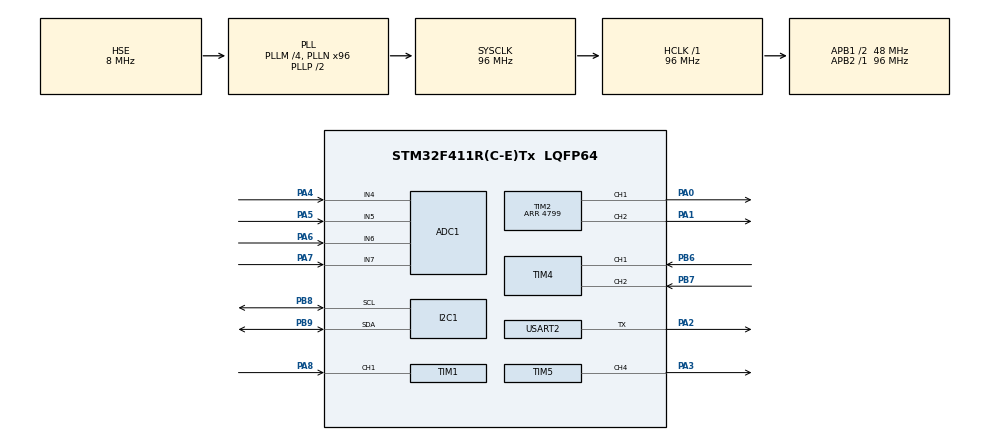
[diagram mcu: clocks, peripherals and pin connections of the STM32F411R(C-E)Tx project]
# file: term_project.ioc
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ADC1.Channel-0\#ChannelRegularConversion=ADC_CHANNEL_4
ADC1.Channel-1\#ChannelRegularConversion=ADC_CHANNEL_5
ADC1.Channel-2\#ChannelRegularConversion=ADC_CHANNEL_6
ADC1.Channel-3\#ChannelRegularConversion=ADC_CHANNEL_7
ADC1.ContinuousConvMode=ENABLE
ADC1.DMAContinuousRequests=DISABLE
ADC1.InjNumberOfConversion=0
ADC1.NbrOfConversion=4
ADC1.NbrOfConversionFlag=1
ADC1.Rank-0\#ChannelRegularConversion=1
ADC1.Rank-1\#ChannelRegularConversion=2
ADC1.Rank-2\#ChannelRegularConversion=3
ADC1.Rank-3\#ChannelRegularConversion=4
ADC1.SamplingTime-0\#ChannelRegularConversion=ADC_SAMPLETIME_3CYCLES
ADC1.SamplingTime-1\#ChannelRegularConversion=ADC_SAMPLETIME_3CYCLES
ADC1.SamplingTime-2\#ChannelRegularConversion=ADC_SAMPLETIME_3CYCLES
ADC1.SamplingTime-3\#ChannelRegularConversion=ADC_SAMPLETIME_3CYCLES
ADC1.master=1
Mcu.Family=STM32F4
Mcu.Name=STM32F411R(C-E)Tx
Mcu.Package=LQFP64
NVIC.PriorityGroup=NVIC_PRIORITYGROUP_4
NVIC.TIM1_CC_IRQn=true\:0\:0\:false\:false\:true\:true\:true\:true
NVIC.TIM4_IRQn=true\:0\:0\:false\:false\:true\:true\:true\:true
PA0-WKUP.Signal=S_TIM2_CH1_ETR
PA1.Signal=S_TIM2_CH2
PA13.Mode=Serial_Wire
PA13.Signal=SYS_JTMS-SWDIO
PA14.Mode=Serial_Wire
PA14.Signal=SYS_JTCK-SWCLK
PA2.Mode=Half_duplex(single_wire_mode)
PA2.Signal=USART2_TX
PA3.Signal=S_TIM5_CH4
PA4.Signal=ADCx_IN4
PA5.Signal=ADCx_IN5
PA6.Signal=ADCx_IN6
PA7.Signal=ADCx_IN7
PA8.Signal=S_TIM1_CH1
PB0.Signal=S_TIM3_CH3
PB1.Signal=S_TIM3_CH4
PB6.Signal=S_TIM4_CH1
PB7.Signal=S_TIM4_CH2
PB8.Mode=I2C
PB8.Signal=I2C1_SCL
PB9.Mode=I2C
PB9.Signal=I2C1_SDA
PH0\ -\ OSC_IN.Mode=HSE-External-Oscillator
PH0\ -\ OSC_IN.Signal=RCC_OSC_IN
PH1\ -\ OSC_OUT.Mode=HSE-External-Oscillator
PH1\ -\ OSC_OUT.Signal=RCC_OSC_OUT
ProjectManager.HeapSize=0x200
ProjectManager.StackSize=0x400
ProjectManager.TargetToolchain=STM32CubeIDE
RCC.48MHZClocksFreq_Value=48000000
RCC.AHBFreq_Value=96000000
RCC.APB1CLKDivider=RCC_HCLK_DIV2
RCC.APB1Freq_Value=48000000
RCC.APB1TimFreq_Value=96000000
RCC.APB2Freq_Value=96000000
RCC.APB2TimFreq_Value=96000000
RCC.CortexFreq_Value=96000000
RCC.HCLKFreq_Value=96000000
RCC.HSE_VALUE=8000000
RCC.HSI_VALUE=16000000
RCC.LSE_VALUE=32768
RCC.PLLM=4
RCC.PLLN=96
RCC.PLLSourceVirtual=RCC_PLLSOURCE_HSE
RCC.SYSCLKFreq_VALUE=96000000
RCC.SYSCLKSource=RCC_SYSCLKSOURCE_PLLCLK
RCC.VCOOutputFreq_Value=192000000
SH.ADCx_IN4.0=ADC1_IN4,IN4
SH.ADCx_IN5.0=ADC1_IN5,IN5
SH.ADCx_IN6.0=ADC1_IN6,IN6
SH.ADCx_IN7.0=ADC1_IN7,IN7
SH.S_TIM1_CH1.0=TIM1_CH1,PWM_Input_1
SH.S_TIM2_CH1_ETR.0=TIM2_CH1,PWM Generation1 CH1
SH.S_TIM2_CH2.0=TIM2_CH2,PWM Generation2 CH2
SH.S_TIM3_CH3.0=TIM3_CH3
SH.S_TIM3_CH4.0=TIM3_CH4
SH.S_TIM4_CH1.0=TIM4_CH1,Encoder_Interface
SH.S_TIM4_CH2.0=TIM4_CH2,Encoder_Interface
SH.S_TIM5_CH4.0=TIM5_CH4,PWM Generation4 CH4
TIM1.Prescaler=95
TIM2.Channel-PWM\ Generation1\ CH1=TIM_CHANNEL_1
TIM2.Channel-PWM\ Generation2\ CH2=TIM_CHANNEL_2
TIM2.OCPolarity_1=TIM_OCPOLARITY_LOW
TIM2.OCPolarity_2=TIM_OCPOLARITY_LOW
TIM2.Period=4799
TIM4.EncoderMode=TIM_ENCODERMODE_TI12
TIM4.IC1Polarity=TIM_ICPOLARITY_RISING
TIM4.IC2Polarity=TIM_ICPOLARITY_RISING
TIM5.Channel-PWM\ Generation4\ CH4=TIM_CHANNEL_4
TIM5.Period=1919999
USART2.Mode=MODE_TX
USART2.VirtualMode=VM_ASYNC
VP_TIM1_VS_ClockSourceINT.Mode=Internal
VP_TIM2_VS_ClockSourceINT.Mode=Internal
VP_TIM5_VS_ClockSourceINT.Mode=Internal
board=custom

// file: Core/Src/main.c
/* USER CODE BEGIN Header */
/**
  ******************************************************************************
  * @file           : main.c
  * @brief          : Main program body
  ******************************************************************************
  * @attention
  *
  * Copyright (c) 2024 STMicroelectronics.
  * All rights reserved.
  *
  * This software is licensed under terms that can be found in the LICENSE file
  * in the root directory of this software component.
  * If no LICENSE file comes with this software, it is provided AS-IS.
  *
  ******************************************************************************
  */
/* USER CODE END Header */
#include "main.h"

/* USER CODE BEGIN Includes */
#include "motor_driver.h"
#include "servo_driver.h"
#include "radio_reciever_driver.h"
#include "photoresistor_driver.h"
#include "encoder_driver.h"
#include "bno055.h"
#include "bno_config.h"
#include "vector.h"
#include "controller.h"
#include "task1.h"
#include "task2.h"
#include "intertask_vars.h"
#include <stdio.h>
#include <stdlib.h>
#include <string.h>
#include <math.h>
/* USER CODE END Includes */

ADC_HandleTypeDef hadc1;

I2C_HandleTypeDef hi2c1;

TIM_HandleTypeDef htim1;
TIM_HandleTypeDef htim2;
TIM_HandleTypeDef htim4;
TIM_HandleTypeDef htim5;

UART_HandleTypeDef huart2;

/* USER CODE BEGIN PV */
TIM_HandleTypeDef htim_cb;
volatile float gyro_angle_x = 0;
volatile float gyro_angle_y = 0;
volatile float gyro_angle_z = 0;

// Interrupt Flags
uint8_t rad_edge_flag = 0;
uint8_t adc_conversion_flag = 0;
/* USER CODE END PV */

void SystemClock_Config(void);
static void MX_GPIO_Init(void);
static void MX_ADC1_Init(void);
static void MX_TIM1_Init(void);
static void MX_TIM2_Init(void);
static void MX_TIM5_Init(void);
static void MX_USART2_UART_Init(void);
static void MX_I2C1_Init(void);
static void MX_TIM4_Init(void);
/* USER CODE BEGIN PFP */
int32_t pulse_to_PWM(RadioReciever_DriverTypeDef* rad);
VectorTypeDef get_reflect_angle(VectorTypeDef* light_source_angle, VectorTypeDef* target_position, VectorTypeDef* heliostat_position);
/* USER CODE END PFP */

int main(void)
{

  /* MCU Configuration--------------------------------------------------------*/

  /* Reset of all peripherals, Initializes the Flash interface and the Systick. */
  HAL_Init();

  /* Configure the system clock */
  SystemClock_Config();

  /* Initialize all configured peripherals */
  MX_GPIO_Init();
  MX_ADC1_Init();
  MX_TIM1_Init();
  MX_TIM2_Init();
  MX_TIM5_Init();
  MX_USART2_UART_Init();
  MX_I2C1_Init();
  MX_TIM4_Init();
  /* USER CODE BEGIN 2 */

  // Driver Initializations

  // Initializing the motor driver structure and enabling the motor
  volatile int32_t duty_percent;
  volatile int32_t duty_count;
  const int32_t pulse = 4799;
  Motor_DriverTypeDef mot = { .tim_handle = &htim2,
  	  	 	  	  	  	  	  .tim_channel1 = TIM_CHANNEL_1,
							  .tim_channel2 = TIM_CHANNEL_2,
  	  	 	  	  	  	  	  .tim_channel3 = TIM_CHANNEL_3,	// Unused
							  .tim_channel4 = TIM_CHANNEL_4,	// Unused
							  .pulse = pulse				 };
  //enable_mot(&mot,1);
  // Initially setting the PWM to 0 in case they had been previously been set
  //set_PWM_percent(&mot, 1, 0);

  // Initializing the servo motor driver structure and enabling the servo
  float servo_current_position;
  uint32_t CCR;
  float servo_angle;
  Servo_DriverTypeDef servo = { .pwmHandle = &htim5,
		  	  	  	  	 	 	.timer_ch = TIM_CHANNEL_4,
								.current_CCR = 0,
								.timer_ARR = 1919999       };
  //enable_servo(&servo);

  // Initializing the Radio Receiver structure and enabling the channel for inputs
  RadioReciever_DriverTypeDef rad = { .tim_handle = &htim1,
	  	  	  	  	  	  	     	   .tim_channel1 = TIM_CHANNEL_1,
									   .tim_channel2 = TIM_CHANNEL_2,
									   .IC_Rise = 0,
									   .IC_Fall = 0,
									   .IC_Diff = 0,
									   .pulse_width = 0,
									   .tol = 0.1,
									   .pulse_recieve_flag = 0,
									   .rise_flag = 0					};
  //enable_rad(task->rad);

  // Initializing the Photoresistors' structure
  uint32_t photo1, photo2, photo3, photo4;
  uint32_t photo_buff[4];

  Photoresistor_DriverTypeDef photo = { .adc_handle = &hadc1,
		  	  	  	  	  	  	  	  	.adc_channel1 = ADC_CHANNEL_4,
										.adc_channel2 = ADC_CHANNEL_5,
		  	  	  	  	  	  	  	  	.adc_channel1 = ADC_CHANNEL_6,
										.adc_channel2 = ADC_CHANNEL_7,
  	  	  	  	  	  	  	  	  	    .photo_results = photo_buff   };

  // Initializing the Encoder structure
  // NOTE: The purchased Encoder for this project has one non-functional output, meaning it can only read one direction and not as a quadrature
  int32_t count;
  Encoder_DriverTypeDef enc = { .tim_handle = &htim4,
		  	  	  	  	  	    .tim_channel1 = TIM_CHANNEL_1,
								.tim_channel2 = TIM_CHANNEL_2,
								.curr_count = 0,
								.prev_count = 0,
								.tot_count = 0,
								.pos = 0,
								.AR = 65535					   };
  //enable_enc(&enc);
  //set_zero(&enc);

  // UART Communication
  volatile uint32_t prev_time;
  volatile uint32_t curr_time;
  volatile char my_message[200];

  // Initializing Gyroscope I2C structure
  // Source: https://github.com/d-mironov/Bosch-BNO055-STM32/blob/main/examples/simple/Src/main.c
  bno055_euler_t euler = {0, 0, 0};
  error_bno err;
  volatile float gyro_angle_x = 0;
  volatile float gyro_angle_y = 0;
  volatile float gyro_angle_z = 0;

  bno055_t bno = (bno055_t){ .i2c = &hi2c1,
	  	  	  	  	  	  	 .addr = 0x28,
							 .mode = BNO_MODE_IMU };

  // EDIT: uncomment this and the next section to debug the IMU/connections
  /*
  HAL_Delay(1000);

  if ((err = bno055_init(&bno)) == BNO_OK) {
	  sprintf(my_message,"[+] BNO055 init success\r\n");
	  HAL_UART_Transmit(&huart2, (uint8_t*) my_message, strlen(my_message), 100);
      HAL_Delay(100);
  } else {
	  sprintf(my_message,"[!] BNO055 init failed: %s \r\n", bno055_err_str(err));
	  HAL_UART_Transmit(&huart2, (uint8_t*) my_message, strlen(my_message), 100);
      Error_Handler();
  }

  HAL_Delay(100);
  err = bno055_set_unit(&bno, BNO_TEMP_UNIT_C, BNO_GYR_UNIT_DPS,
                        BNO_ACC_UNITSEL_M_S2, BNO_EUL_UNIT_DEG);
  if (err != BNO_OK) {
	  sprintf(my_message,"[BNO] Failed to set units. Err: %d\r\n", err);
	  HAL_UART_Transmit(&huart2, (uint8_t*) my_message, strlen(my_message), 100);
  } else {
	  sprintf(my_message,"[BNO] Unit selection success\r\n");
	  HAL_UART_Transmit(&huart2, (uint8_t*) my_message, strlen(my_message), 100);
  }
  */

  /*
  HAL_StatusTypeDef ret;
  uint8_t Buffer[25] = {0};
  uint8_t Space[] = " - ";
  uint8_t StartMSG[] = "Starting I2C Scanning: \r\n";
  uint8_t EndMSG[] = "Done! \r\n\r\n";

  HAL_UART_Transmit(&huart2, StartMSG, sizeof(StartMSG), 10000);
  for(uint16_t i=1; i<128; i++)
  {
      ret = HAL_I2C_IsDeviceReady(&hi2c1, (uint16_t)(i<<1), 3, 5);
      if (ret != HAL_OK)
      {
          HAL_UART_Transmit(&huart2, Space, sizeof(Space), 10000);
      }
      else if(ret == HAL_OK)
      {
          sprintf(Buffer, "0x%X", i);
          HAL_UART_Transmit(&huart2, Buffer, sizeof(Buffer), 10000);
      }
  }
  HAL_UART_Transmit(&huart2, EndMSG, sizeof(EndMSG), 10000);
  */

  // Controller Initialization
  ControllerTypeDef con = { .des_val = 0,
		  	  	  	  	  	.kp = 0,
							.kd = 0,
							.ki = 0,
							.int_err = 0,
							.prev_err = 0,
							.prev_time = 0,
							.first_time = 1, };

  // Task Initializations

  INTERTASK_VARS intertask_vars = { .rc_trigger_flag = 0,
  	  	  	  	  	  	  	  	  	  .rad_edge_flag = &rad_edge_flag,	// EDIT: This should be an address bc its set outside of the tasks by an interrupt. The interrupt does not actually update the value in this struct, so we need to read the value at the address that it's stored in
  	  	  	  	  	  	  	  	  	  .htim_cb = &htim_cb			   };

  TASK1 task1 = { .state = 0,
				  .mot = &mot,
				  .servo = &servo,
				  .rad = &rad,
				  .photo = &photo,
				  .enc = &enc,
  	  	  	  	  .gyro = &bno	   };

  TASK2 task2 = { .state = 0,
				  .mot = &mot,
				  .servo = &servo,
				  .rad = &rad,
				  .photo = &photo,
				  .enc = &enc,
  	  	  	  	  .gyro = &bno,
  	  	  	  	  .con = &con,
  	  	  	  	  .init_controller = 1,
				  .euler = &euler,
				  .within_range = 0,
				  .end_time = 0,
				  .high_light = 0,
				  .high_angle = 0,
				  .reflect_angle = 0    };

  /* USER CODE END 2 */

  /* Infinite loop */
  /* USER CODE BEGIN WHILE */
  prev_time = HAL_GetTick();
  while (1)
  {
	  // FSM
	  main_task1(&task1, &intertask_vars);
	  main_task2(&task2, &intertask_vars);

	  /*
	  // Testing Motor
	  int32_t duty_count = pulse_to_PWM(&rad);
	  set_PWM(&mot, 1, duty_count);

	  // Testing Servo
	  servo_set_position(&servo, servo_angle);
	  CCR = servo.current_CCR;
	  servo_current_position = servo_get_position(&servo);

	  // Testing Radio Receiver
	  if (rad_edge_flag){
		  read_pulse(&rad, &htim_cb);
		  rad_edge_flag = 0;
	  }

	  // Testing Photoresistor ADC values

	  uint32_t photo1 = get_photo_value(&photo, 1);
	  uint32_t photo2 = get_photo_value(&photo, 2);
	  uint32_t photo3 = get_photo_value(&photo, 3);
	  uint32_t photo4 = get_photo_value(&photo, 4);

	  // Testing Encoder Outputs
	  count = read_count(&enc);

	  // Testing I2C Gyroscope
	  bno055_euler(&bno, &euler);
	  gyro_angle_x = euler.yaw;
	  gyro_angle_y = euler.pitch;
	  gyro_angle_z = euler.roll;

	  //Printing out values through UART at set times
	  curr_time = HAL_GetTick();
	  if (curr_time - prev_time >= 1000){
		  sprintf(my_message,"Photoresistor 1 voltage: %ld (V) (or %ld).\r\n", (uint32_t) (photo1*3.3/4095), photo1);
		  HAL_UART_Transmit(&huart2, (uint8_t*) my_message, strlen(my_message), 100);
		  sprintf(my_message,"Photoresistor 2 voltage: %ld (V) (or %ld).\r\n", (uint32_t) (photo2*3.3/4095), photo2);
		  HAL_UART_Transmit(&huart2, (uint8_t*) my_message, strlen(my_message), 100);
		  sprintf(my_message,"Photoresistor 3 voltage: %ld (V) (or %ld).\r\n", (uint32_t) (photo3*3.3/4095), photo3);
		  HAL_UART_Transmit(&huart2, (uint8_t*) my_message, strlen(my_message), 100);
		  sprintf(my_message,"Photoresistor 4 voltage: %ld (V) (or %ld).\r\n", (uint32_t) (photo4*3.3/4095), photo4);
		  HAL_UART_Transmit(&huart2, (uint8_t*) my_message, strlen(my_message), 100);

		  sprintf(my_message,"Encoder position is: %ld.\r\n", count);
		  HAL_UART_Transmit(&huart2, (uint8_t*) my_message, strlen(my_message), 100);

		  sprintf(my_message,"Gyro X is: %d.\r\n", (int32_t)gyro_angle_x);
		  HAL_UART_Transmit(&huart2, (uint8_t*) my_message, strlen(my_message), 100);
		  sprintf(my_message,"Gyro Y is: %d.\r\n", (int32_t)gyro_angle_y);
		  HAL_UART_Transmit(&huart2, (uint8_t*) my_message, strlen(my_message), 100);
		  sprintf(my_message,"Gyro Z is: %d.\r\n", (int32_t)gyro_angle_z);
		  HAL_UART_Transmit(&huart2, (uint8_t*) my_message, strlen(my_message), 100);

		  sprintf(my_message,"\r\n");
		  HAL_UART_Transmit(&huart2, (uint8_t*) my_message, strlen(my_message), 10);

		  prev_time = curr_time;
	  }
	  */
    /* USER CODE END WHILE */

  }
}

void SystemClock_Config(void)
{
  RCC_OscInitTypeDef RCC_OscInitStruct = {0};
  RCC_ClkInitTypeDef RCC_ClkInitStruct = {0};

  /** Configure the main internal regulator output voltage
  */
  __HAL_RCC_PWR_CLK_ENABLE();
  __HAL_PWR_VOLTAGESCALING_CONFIG(PWR_REGULATOR_VOLTAGE_SCALE1);

  /** Initializes the RCC Oscillators according to the specified parameters
  * in the RCC_OscInitTypeDef structure.
  */
  RCC_OscInitStruct.OscillatorType = RCC_OSCILLATORTYPE_HSE;
  RCC_OscInitStruct.HSEState = RCC_HSE_ON;
  RCC_OscInitStruct.PLL.PLLState = RCC_PLL_ON;
  RCC_OscInitStruct.PLL.PLLSource = RCC_PLLSOURCE_HSE;
  RCC_OscInitStruct.PLL.PLLM = 4;
  RCC_OscInitStruct.PLL.PLLN = 96;
  RCC_OscInitStruct.PLL.PLLP = RCC_PLLP_DIV2;
  RCC_OscInitStruct.PLL.PLLQ = 4;
  if (HAL_RCC_OscConfig(&RCC_OscInitStruct) != HAL_OK)
  {
    Error_Handler();
  }

  /** Initializes the CPU, AHB and APB buses clocks
  */
  RCC_ClkInitStruct.ClockType = RCC_CLOCKTYPE_HCLK|RCC_CLOCKTYPE_SYSCLK
                              |RCC_CLOCKTYPE_PCLK1|RCC_CLOCKTYPE_PCLK2;
  RCC_ClkInitStruct.SYSCLKSource = RCC_SYSCLKSOURCE_PLLCLK;
  RCC_ClkInitStruct.AHBCLKDivider = RCC_SYSCLK_DIV1;
  RCC_ClkInitStruct.APB1CLKDivider = RCC_HCLK_DIV2;
  RCC_ClkInitStruct.APB2CLKDivider = RCC_HCLK_DIV1;

  if (HAL_RCC_ClockConfig(&RCC_ClkInitStruct, FLASH_LATENCY_3) != HAL_OK)
  {
    Error_Handler();
  }
}

static void MX_ADC1_Init(void)
{

  ADC_ChannelConfTypeDef sConfig = {0};

  /** Configure the global features of the ADC (Clock, Resolution, Data Alignment and number of conversion)
  */
  hadc1.Instance = ADC1;
  hadc1.Init.ClockPrescaler = ADC_CLOCK_SYNC_PCLK_DIV4;
  hadc1.Init.Resolution = ADC_RESOLUTION_12B;
  hadc1.Init.ScanConvMode = ENABLE;
  hadc1.Init.ContinuousConvMode = ENABLE;
  hadc1.Init.DiscontinuousConvMode = DISABLE;
  hadc1.Init.ExternalTrigConvEdge = ADC_EXTERNALTRIGCONVEDGE_NONE;
  hadc1.Init.ExternalTrigConv = ADC_SOFTWARE_START;
  hadc1.Init.DataAlign = ADC_DATAALIGN_RIGHT;
  hadc1.Init.NbrOfConversion = 4;
  hadc1.Init.DMAContinuousRequests = DISABLE;
  hadc1.Init.EOCSelection = ADC_EOC_SINGLE_CONV;
  if (HAL_ADC_Init(&hadc1) != HAL_OK)
  {
    Error_Handler();
  }

  /** Configure for the selected ADC regular channel its corresponding rank in the sequencer and its sample time.

  sConfig.Channel = ADC_CHANNEL_4;
  sConfig.Rank = 1;
  sConfig.SamplingTime = ADC_SAMPLETIME_3CYCLES;
  if (HAL_ADC_ConfigChannel(&hadc1, &sConfig) != HAL_OK)
  {
    Error_Handler();
  }

  /** Configure for the selected ADC regular channel its corresponding rank in the sequencer and its sample time.

  sConfig.Channel = ADC_CHANNEL_5;
  sConfig.Rank = 2;
  if (HAL_ADC_ConfigChannel(&hadc1, &sConfig) != HAL_OK)
  {
    Error_Handler();
  }

  /** Configure for the selected ADC regular channel its corresponding rank in the sequencer and its sample time.

  sConfig.Channel = ADC_CHANNEL_6;
  sConfig.Rank = 3;
  if (HAL_ADC_ConfigChannel(&hadc1, &sConfig) != HAL_OK)
  {
    Error_Handler();
  }

  /** Configure for the selected ADC regular channel its corresponding rank in the sequencer and its sample time.

  sConfig.Channel = ADC_CHANNEL_7;
  sConfig.Rank = 4;
  if (HAL_ADC_ConfigChannel(&hadc1, &sConfig) != HAL_OK)
  {
    Error_Handler();
  }

}

static void MX_I2C1_Init(void)
{

  hi2c1.Instance = I2C1;
  hi2c1.Init.ClockSpeed = 100000;
  hi2c1.Init.DutyCycle = I2C_DUTYCYCLE_2;
  hi2c1.Init.OwnAddress1 = 0;
  hi2c1.Init.AddressingMode = I2C_ADDRESSINGMODE_7BIT;
  hi2c1.Init.DualAddressMode = I2C_DUALADDRESS_DISABLE;
  hi2c1.Init.OwnAddress2 = 0;
  hi2c1.Init.GeneralCallMode = I2C_GENERALCALL_DISABLE;
  hi2c1.Init.NoStretchMode = I2C_NOSTRETCH_DISABLE;
  if (HAL_I2C_Init(&hi2c1) != HAL_OK)
  {
    Error_Handler();
  }

}

static void MX_TIM1_Init(void)
{

  TIM_ClockConfigTypeDef sClockSourceConfig = {0};
  TIM_SlaveConfigTypeDef sSlaveConfig = {0};
  TIM_IC_InitTypeDef sConfigIC = {0};
  TIM_MasterConfigTypeDef sMasterConfig = {0};

  htim1.Instance = TIM1;
  htim1.Init.Prescaler = 95;
  htim1.Init.CounterMode = TIM_COUNTERMODE_UP;
  htim1.Init.Period = 65535;
  htim1.Init.ClockDivision = TIM_CLOCKDIVISION_DIV1;
  htim1.Init.RepetitionCounter = 0;
  htim1.Init.AutoReloadPreload = TIM_AUTORELOAD_PRELOAD_DISABLE;
  if (HAL_TIM_Base_Init(&htim1) != HAL_OK)
  {
    Error_Handler();
  }
  sClockSourceConfig.ClockSource = TIM_CLOCKSOURCE_INTERNAL;
  if (HAL_TIM_ConfigClockSource(&htim1, &sClockSourceConfig) != HAL_OK)
  {
    Error_Handler();
  }
  if (HAL_TIM_IC_Init(&htim1) != HAL_OK)
  {
    Error_Handler();
  }
  sSlaveConfig.SlaveMode = TIM_SLAVEMODE_RESET;
  sSlaveConfig.InputTrigger = TIM_TS_TI1FP1;
  sSlaveConfig.TriggerPolarity = TIM_INPUTCHANNELPOLARITY_RISING;
  sSlaveConfig.TriggerPrescaler = TIM_ICPSC_DIV1;
  sSlaveConfig.TriggerFilter = 0;
  if (HAL_TIM_SlaveConfigSynchro(&htim1, &sSlaveConfig) != HAL_OK)
  {
    Error_Handler();
  }
  sConfigIC.ICPolarity = TIM_INPUTCHANNELPOLARITY_RISING;
  sConfigIC.ICSelection = TIM_ICSELECTION_DIRECTTI;
  sConfigIC.ICPrescaler = TIM_ICPSC_DIV1;
  sConfigIC.ICFilter = 0;
  if (HAL_TIM_IC_ConfigChannel(&htim1, &sConfigIC, TIM_CHANNEL_1) != HAL_OK)
  {
    Error_Handler();
  }
  sConfigIC.ICPolarity = TIM_INPUTCHANNELPOLARITY_FALLING;
  sConfigIC.ICSelection = TIM_ICSELECTION_INDIRECTTI;
  if (HAL_TIM_IC_ConfigChannel(&htim1, &sConfigIC, TIM_CHANNEL_2) != HAL_OK)
  {
    Error_Handler();
  }
  sMasterConfig.MasterOutputTrigger = TIM_TRGO_RESET;
  sMasterConfig.MasterSlaveMode = TIM_MASTERSLAVEMODE_DISABLE;
  if (HAL_TIMEx_MasterConfigSynchronization(&htim1, &sMasterConfig) != HAL_OK)
  {
    Error_Handler();
  }

}

static void MX_TIM2_Init(void)
{

  TIM_ClockConfigTypeDef sClockSourceConfig = {0};
  TIM_MasterConfigTypeDef sMasterConfig = {0};
  TIM_OC_InitTypeDef sConfigOC = {0};

  htim2.Instance = TIM2;
  htim2.Init.Prescaler = 0;
  htim2.Init.CounterMode = TIM_COUNTERMODE_UP;
  htim2.Init.Period = 4799;
  htim2.Init.ClockDivision = TIM_CLOCKDIVISION_DIV1;
  htim2.Init.AutoReloadPreload = TIM_AUTORELOAD_PRELOAD_DISABLE;
  if (HAL_TIM_Base_Init(&htim2) != HAL_OK)
  {
    Error_Handler();
  }
  sClockSourceConfig.ClockSource = TIM_CLOCKSOURCE_INTERNAL;
  if (HAL_TIM_ConfigClockSource(&htim2, &sClockSourceConfig) != HAL_OK)
  {
    Error_Handler();
  }
  if (HAL_TIM_PWM_Init(&htim2) != HAL_OK)
  {
    Error_Handler();
  }
  sMasterConfig.MasterOutputTrigger = TIM_TRGO_RESET;
  sMasterConfig.MasterSlaveMode = TIM_MASTERSLAVEMODE_DISABLE;
  if (HAL_TIMEx_MasterConfigSynchronization(&htim2, &sMasterConfig) != HAL_OK)
  {
    Error_Handler();
  }
  sConfigOC.OCMode = TIM_OCMODE_PWM1;
  sConfigOC.Pulse = 0;
  sConfigOC.OCPolarity = TIM_OCPOLARITY_LOW;
  sConfigOC.OCFastMode = TIM_OCFAST_DISABLE;
  if (HAL_TIM_PWM_ConfigChannel(&htim2, &sConfigOC, TIM_CHANNEL_1) != HAL_OK)
  {
    Error_Handler();
  }
  if (HAL_TIM_PWM_ConfigChannel(&htim2, &sConfigOC, TIM_CHANNEL_2) != HAL_OK)
  {
    Error_Handler();
  }
  HAL_TIM_MspPostInit(&htim2);

}

static void MX_TIM4_Init(void)
{

  TIM_Encoder_InitTypeDef sConfig = {0};
  TIM_MasterConfigTypeDef sMasterConfig = {0};

  htim4.Instance = TIM4;
  htim4.Init.Prescaler = 0;
  htim4.Init.CounterMode = TIM_COUNTERMODE_UP;
  htim4.Init.Period = 65535;
  htim4.Init.ClockDivision = TIM_CLOCKDIVISION_DIV1;
  htim4.Init.AutoReloadPreload = TIM_AUTORELOAD_PRELOAD_DISABLE;
  sConfig.EncoderMode = TIM_ENCODERMODE_TI12;
  sConfig.IC1Polarity = TIM_ICPOLARITY_RISING;
  sConfig.IC1Selection = TIM_ICSELECTION_DIRECTTI;
  sConfig.IC1Prescaler = TIM_ICPSC_DIV1;
  sConfig.IC1Filter = 0;
  sConfig.IC2Polarity = TIM_ICPOLARITY_RISING;
  sConfig.IC2Selection = TIM_ICSELECTION_DIRECTTI;
  sConfig.IC2Prescaler = TIM_ICPSC_DIV1;
  sConfig.IC2Filter = 0;
  if (HAL_TIM_Encoder_Init(&htim4, &sConfig) != HAL_OK)
  {
    Error_Handler();
  }
  sMasterConfig.MasterOutputTrigger = TIM_TRGO_RESET;
  sMasterConfig.MasterSlaveMode = TIM_MASTERSLAVEMODE_DISABLE;
  if (HAL_TIMEx_MasterConfigSynchronization(&htim4, &sMasterConfig) != HAL_OK)
  {
    Error_Handler();
  }

}

static void MX_TIM5_Init(void)
{

  TIM_ClockConfigTypeDef sClockSourceConfig = {0};
  TIM_MasterConfigTypeDef sMasterConfig = {0};
  TIM_OC_InitTypeDef sConfigOC = {0};

  htim5.Instance = TIM5;
  htim5.Init.Prescaler = 0;
  htim5.Init.CounterMode = TIM_COUNTERMODE_UP;
  htim5.Init.Period = 1919999;
  htim5.Init.ClockDivision = TIM_CLOCKDIVISION_DIV1;
  htim5.Init.AutoReloadPreload = TIM_AUTORELOAD_PRELOAD_DISABLE;
  if (HAL_TIM_Base_Init(&htim5) != HAL_OK)
  {
    Error_Handler();
  }
  sClockSourceConfig.ClockSource = TIM_CLOCKSOURCE_INTERNAL;
  if (HAL_TIM_ConfigClockSource(&htim5, &sClockSourceConfig) != HAL_OK)
  {
    Error_Handler();
  }
  if (HAL_TIM_PWM_Init(&htim5) != HAL_OK)
  {
    Error_Handler();
  }
  sMasterConfig.MasterOutputTrigger = TIM_TRGO_RESET;
  sMasterConfig.MasterSlaveMode = TIM_MASTERSLAVEMODE_DISABLE;
  if (HAL_TIMEx_MasterConfigSynchronization(&htim5, &sMasterConfig) != HAL_OK)
  {
    Error_Handler();
  }
  sConfigOC.OCMode = TIM_OCMODE_PWM1;
  sConfigOC.Pulse = 0;
  sConfigOC.OCPolarity = TIM_OCPOLARITY_HIGH;
  sConfigOC.OCFastMode = TIM_OCFAST_DISABLE;
  if (HAL_TIM_PWM_ConfigChannel(&htim5, &sConfigOC, TIM_CHANNEL_4) != HAL_OK)
  {
    Error_Handler();
  }
  HAL_TIM_MspPostInit(&htim5);

}

static void MX_USART2_UART_Init(void)
{

  huart2.Instance = USART2;
  huart2.Init.BaudRate = 115200;
  huart2.Init.WordLength = UART_WORDLENGTH_8B;
  huart2.Init.StopBits = UART_STOPBITS_1;
  huart2.Init.Parity = UART_PARITY_NONE;
  huart2.Init.Mode = UART_MODE_TX;
  huart2.Init.HwFlowCtl = UART_HWCONTROL_NONE;
  huart2.Init.OverSampling = UART_OVERSAMPLING_16;
  if (HAL_HalfDuplex_Init(&huart2) != HAL_OK)
  {
    Error_Handler();
  }

}

static void MX_GPIO_Init(void)
{
  GPIO_InitTypeDef GPIO_InitStruct = {0};

  /* GPIO Ports Clock Enable */
  __HAL_RCC_GPIOH_CLK_ENABLE();
  __HAL_RCC_GPIOA_CLK_ENABLE();
  __HAL_RCC_GPIOB_CLK_ENABLE();

  /*Configure GPIO pins : PB0 PB1 */
  GPIO_InitStruct.Pin = GPIO_PIN_0|GPIO_PIN_1;
  GPIO_InitStruct.Mode = GPIO_MODE_AF_PP;
  GPIO_InitStruct.Pull = GPIO_NOPULL;
  GPIO_InitStruct.Speed = GPIO_SPEED_FREQ_LOW;
  GPIO_InitStruct.Alternate = GPIO_AF2_TIM3;
  HAL_GPIO_Init(GPIOB, &GPIO_InitStruct);

}

/* USER CODE BEGIN 4 */

int32_t pulse_to_PWM(RadioReciever_DriverTypeDef* rad)
{
	  // Getting radio pulse and setting motor
	  int32_t pulse = 4799;
	  uint32_t pulse_rad = get_pulse(rad);
	  if (abs(pulse_rad) < 10){
		  pulse_rad = 1509;
	  }
	  int32_t duty_percent = (int32_t)((pulse_rad-1509)*100)/513;
	  int32_t duty_count = (int32_t)((pulse_rad-1509)*pulse)/513;
	  if (duty_percent > 100 || duty_count > 4799){
		  duty_percent = 100;
		  duty_count = 4799;
	  }
	  else if (duty_percent < -100 || duty_count < -4799){
		  duty_percent = -100;
		  duty_count = -4799;
	  }
	  return duty_count;
}

/*
VectorTypeDef get_reflect_angle(VectorTypeDef* light_source_angle, VectorTypeDef* target_position, VectorTypeDef* heliostat_position)
{
    // Generating a unit vector from the light source angles
    VectorTypeDef light_source_vector = {.x = cos(light_source_angle->z)*sin(light_source_angle->x),
                                         .y = sin(light_source_angle->z)*sin(light_source_angle->x),
                                         .z = cos(light_source_angle->x)                                   };
    // Generating a unit vector from the target-to-heliostat positions
    VectorTypeDef target_dif = {.x = (target_position->x)-(heliostat_position->x),
                                .y = (target_position->y)-(heliostat_position->y),
                                .z = (target_position->z)-(heliostat_position->z) };
    float target_vector_mag = get_mag(&target_dif);
    VectorTypeDef target_vector = {.x = target_dif.x/target_vector_mag,
                                   .y = target_dif.y/target_vector_mag,
                                   .z = target_dif.z/target_vector_mag };

    // Calculating the normal vector of the mirror to reflect the light source to the target
    VectorTypeDef reflect_vector_dir = {.x = light_source_vector.x+target_vector.x,
                                        .y = light_source_vector.y+target_vector.y,
                                        .z = light_source_vector.z+target_vector.z };
    float reflect_vector_dir_mag = get_mag(&reflect_vector_dir);
    VectorTypeDef reflect_vector = {.x = reflect_vector_dir.x/reflect_vector_dir_mag,
                                    .y = reflect_vector_dir.y/reflect_vector_dir_mag,
                                    .z = reflect_vector_dir.z/reflect_vector_dir_mag };

    // Calculating the pitch and yaw angles to produce the mirror normal vector
    float theta = acos(reflect_vector.z);
    float phi1 = acos(reflect_vector.x/sin(theta));
    float phi2 = asin(reflect_vector.y/sin(theta));

    // Generating an angle vector to store phi and theta (phi1 and phi2, with no rounding error, should be the same)
    VectorTypeDef reflect_angle = {.x = theta,
                                   .y = phi1,
                                   .z = phi2  };

    return reflect_angle;
}*/

// Callback Functions

void HAL_TIM_IC_CaptureCallback(TIM_HandleTypeDef *htim)
{
	rad_edge_flag = 1;
	htim_cb = *htim;
}

/* USER CODE END 4 */

void Error_Handler(void)
{
  __disable_irq();
  while (1)
  {
  }
}
